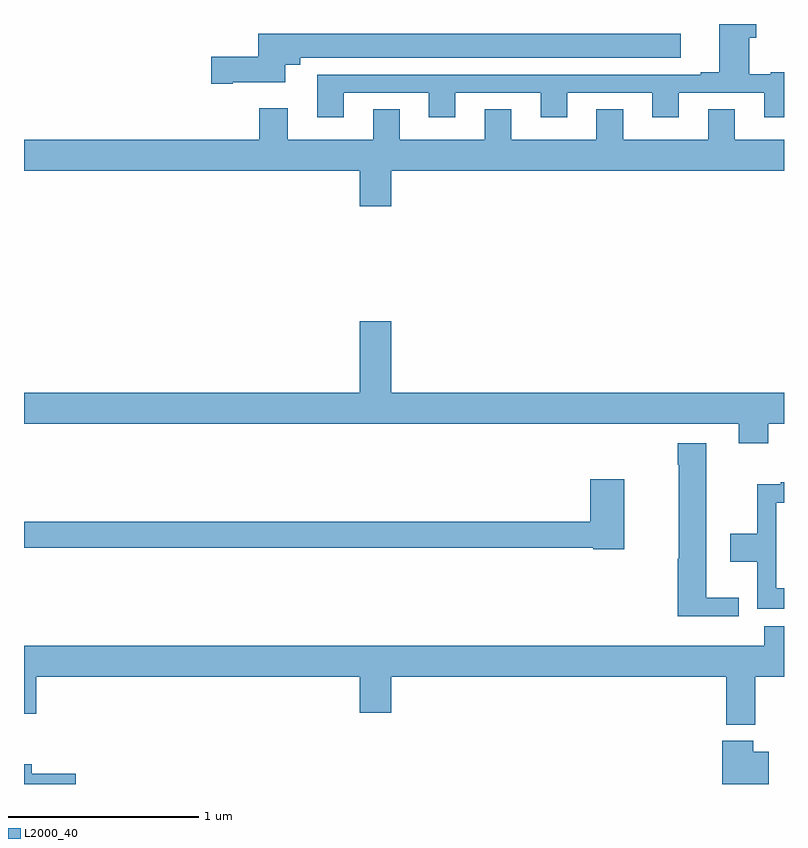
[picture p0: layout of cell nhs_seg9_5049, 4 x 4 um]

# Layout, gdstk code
import gdstk
lib = gdstk.Library(unit=1e-6, precision=1e-09)
def P(c, l, *ps):  # polygons
    for p in ps: c.add(gdstk.Polygon(p, *l))
L2000_40 = (2000, 40)

nhs_seg9_5049 = lib.new_cell('nhs_seg9_5049')
P(nhs_seg9_5049, L2000_40, [(404.683,1222.137),(405.131,1222.137),(405.131,1222.008),(405.271,1222.008),(405.271,1222.137),(405.719,1222.137),(405.719,1222.008),(405.859,1222.008),(405.859,1222.137),(406.307,1222.137),(406.307,1222.008),(406.447,1222.008),(406.447,1222.137),(406.895,1222.137),(406.895,1222.008),(407,1222.008),(407,1222.246),(406.931,1222.246),(406.931,1222.235),(406.816,1222.235),(406.816,1222.427),(406.855,1222.427),(406.855,1222.5),(406.658,1222.5),(406.658,1222.246),(406.562,1222.246),(406.562,1222.233),(404.543,1222.233),(404.543,1222.008),(404.683,1222.008)],
  [(404.098,1222.193),(404.374,1222.193),(404.374,1222.286),(404.455,1222.286),(404.455,1222.322),(406.456,1222.322),(406.456,1222.45),(404.234,1222.45),(404.234,1222.328),(403.986,1222.328),(403.986,1222.186),(404.098,1222.186)],
  [(404.932,1221.728),(407,1221.728),(407,1221.892),(406.741,1221.892),(406.741,1222.052),(406.601,1222.052),(406.601,1221.892),(406.153,1221.892),(406.153,1222.052),(406.013,1222.052),(406.013,1221.892),(405.565,1221.892),(405.565,1222.052),(405.425,1222.052),(405.425,1221.892),(404.977,1221.892),(404.977,1222.052),(404.837,1222.052),(404.837,1221.892),(404.389,1221.892),(404.389,1222.057),(404.237,1222.057),(404.237,1221.892),(403,1221.892),(403,1221.728),(404.768,1221.728),(404.768,1221.54),(404.932,1221.54)],
  [(406.916,1220.396),(407,1220.396),(407,1220.56),(404.932,1220.56),(404.932,1220.935),(404.768,1220.935),(404.768,1220.56),(403,1220.56),(403,1220.396),(406.763,1220.396),(406.763,1220.294),(406.916,1220.294)],
  [(406.762,1219.481),(406.591,1219.481),(406.591,1220.293),(406.442,1220.293),(406.442,1220.18),(406.447,1220.18),(406.447,1219.686),(406.442,1219.686),(406.442,1219.382),(406.762,1219.382)],
  [(406.158,1220.104),(405.98,1220.104),(405.98,1219.88),(403,1219.88),(403,1219.744),(405.996,1219.744),(405.996,1219.736),(406.158,1219.736)],
  [(407,1219.531),(406.959,1219.531),(406.959,1219.98),(407,1219.98),(407,1220.089),(406.982,1220.089),(406.982,1220.078),(406.858,1220.078),(406.858,1219.818),(406.716,1219.818),(406.716,1219.67),(406.858,1219.67),(406.858,1219.422),(407,1219.422)],
  [(406.849,1219.064),(407,1219.064),(407,1219.33),(406.895,1219.33),(406.895,1219.228),(403,1219.228),(403,1218.87),(403.064,1218.87),(403.064,1219.064),(404.768,1219.064),(404.768,1218.876),(404.932,1218.876),(404.932,1219.064),(406.697,1219.064),(406.697,1218.812),(406.849,1218.812)],
  [(406.921,1218.67),(406.837,1218.67),(406.837,1218.727),(406.676,1218.727),(406.676,1218.5),(406.921,1218.5)],
  [(403.273,1218.554),(403.042,1218.554),(403.042,1218.604),(403,1218.604),(403,1218.5),(403.273,1218.5)])

lib.write_gds('nhs_seg9_5049.gds')
